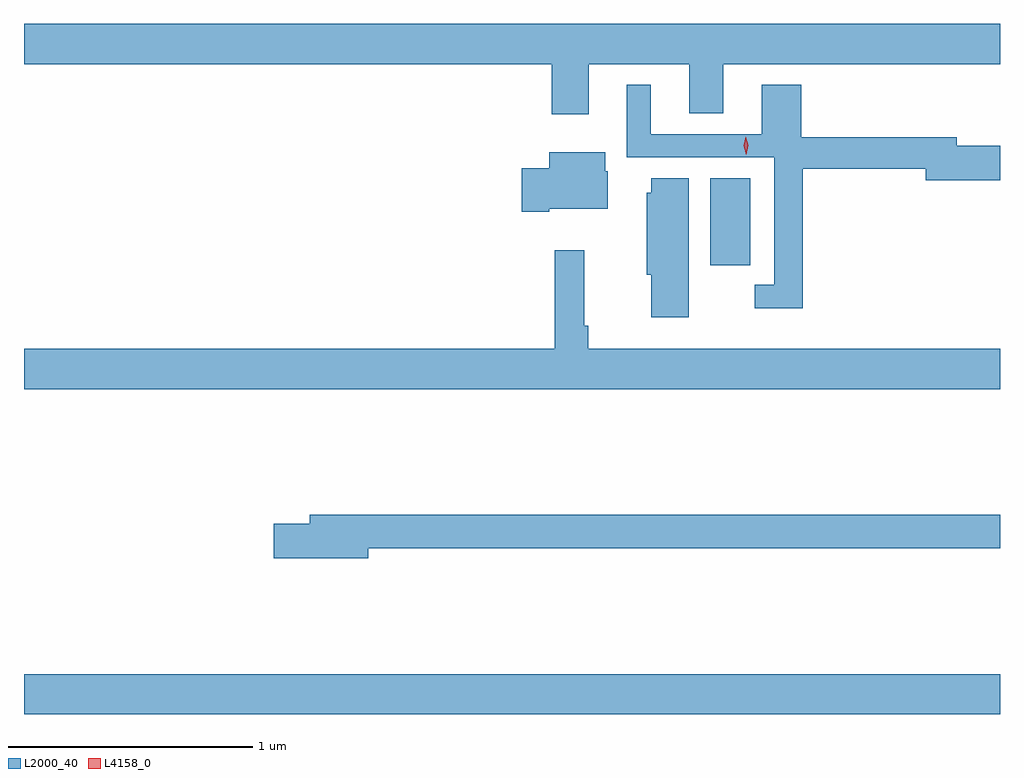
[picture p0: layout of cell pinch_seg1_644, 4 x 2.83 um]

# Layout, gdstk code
import gdstk
lib = gdstk.Library(unit=1e-6, precision=1e-09)
def R(c, l, rs):  # rectangles x0, y0, x1, y1
    for r in rs: c.add(gdstk.rectangle(r[:2], r[2:], *l))
def P(c, l, *ps):  # polygons
    for p in ps: c.add(gdstk.Polygon(p, *l))
L2000_40 = (2000, 40)
L4158_0 = (4158, 0)

pinch_seg1_644 = lib.new_cell('pinch_seg1_644')
R(pinch_seg1_644, L2000_40, [(755.055,561.056,759.055,561.22), (757.868,562.896,758.032,563.252)])
P(pinch_seg1_644, L2000_40, [(757.369,563.72),(757.781,563.72),(757.781,563.518),(757.921,563.518),(757.921,563.72),(759.055,563.72),(759.055,563.884),(755.055,563.884),(755.055,563.72),(757.217,563.72),(757.217,563.514),(757.369,563.514)],
  [(758.246,563.29),(758.75,563.29),(758.75,563.243),(759.055,563.243),(759.055,563.385),(758.878,563.385),(758.878,563.419),(758.24,563.419),(758.24,563.635),(758.078,563.635),(758.078,563.433),(757.624,563.433),(757.624,563.635),(757.526,563.635),(757.526,563.337),(758.13,563.337),(758.13,562.815),(758.049,562.815),(758.049,562.718),(758.246,562.718)],
  [(757.207,563.126),(757.447,563.126),(757.447,563.28),(757.438,563.28),(757.438,563.359),(757.208,563.359),(757.208,563.292),(757.095,563.292),(757.095,563.114),(757.207,563.114)],
  [(757.78,563.252),(757.625,563.252),(757.625,563.193),(757.607,563.193),(757.607,562.857),(757.625,562.857),(757.625,562.683),(757.78,562.683)],
  [(759.055,562.552),(757.367,562.552),(757.367,562.648),(757.352,562.648),(757.352,562.957),(757.231,562.957),(757.231,562.552),(755.055,562.552),(755.055,562.388),(759.055,562.388)],
  [(756.466,561.736),(759.055,561.736),(759.055,561.872),(756.227,561.872),(756.227,561.836),(756.078,561.836),(756.078,561.694),(756.466,561.694)])
P(pinch_seg1_644, L4158_0, [(758.015,563.349),(758.015,563.349),(758.004,563.385),(758.012,563.421),(758.012,563.422),(758.012,563.421),(758.024,563.386),(758.015,563.349)])

lib.write_gds('pinch_seg1_644.gds')
